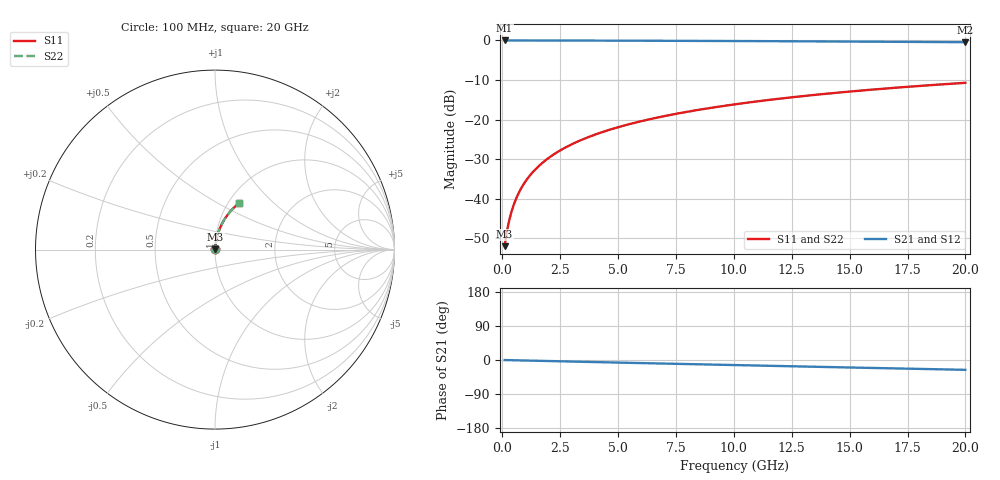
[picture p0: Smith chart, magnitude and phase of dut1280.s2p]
! Touchstone file exported from HFSS 2026.1.0
!  File:  C:/ffzhzh/LocalFiles/Ansys_Project_Files/temp_train_BSMRDL_1280_1783177836_22436.aedt
!  Generated:  11:11:49 PM Jul  4, 2026
!  Design:  BSMRDL
!  Project:  temp_train_BSMRDL_1280_1783177836_22436
! Variables:
!  h_bsmrdl = 5.57um
!  h_ox = 20um
!  h_rdl = 5um
!  h_sub = 80um
!  h_tmrdl = 5um
!  h_tsv = 80um
!  h_via = 3um
!  l_bsmrdl = 332.28um
!  l_sub = 732.28um
!  l_tmrdl = 200um
!  m_sub = 200um
!  pitch = 42.09um
!  r_tsv = 6um
!  s_tmrdl = 10um
!  w_bsmrdl = 11.81um
!  w_sub = 500um
!  w_tmrdl = 12um
!  x_tsv_center1 = 206um
!  x_tsv_center2 = 550.09um
!  x_tsv_center3 = 762.09um
!  x_tsv_center4 = 1106.18um
!  x_tsv_center5 = 1318.18um
!  x_tsv_center6 = 1662.27um
# GHz S MA R 50.000000
! Terminal data exported
! Port[1] = BSM_RDL1_1_T1
! Port[2] = BSM_RDL1_1_T2
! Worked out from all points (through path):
!   200 points, 100 MHz to 20 GHz, reference 50 ohm
!   highest |S21| = -0.02 dB at 100 MHz (marker M1); lowest = -0.5 dB at 20 GHz (marker M2)
!   group delay of S21, straight-line fit = 3.6 ps
!   lowest |S11| = -52.0 dB at 100 MHz (marker M3), VSWR 1.01, Z = 50.2 + j0.17 ohm
!   |S11| at or under -10 dB: start of sweep to end of sweep
!   |S22| runs from -52.0 to -10.7 dB; largest |S21 - S12| = 3.8e-15
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0.1  0.002522 42.2  0.9981 -0.1  0.9981 -0.1  0.002522 42.2
! Gamma 0 0 0 0
! Port Impedance 50 0 50 0
0.2  0.00386 60.1  0.9981 -0.3  0.9981 -0.3  0.00386 60.1
0.3  0.005357 68.3  0.998 -0.4  0.998 -0.4  0.005357 68.3
0.4  0.006912 72.9  0.998 -0.6  0.998 -0.6  0.006912 72.9
0.5  0.008497 75.8  0.9979 -0.7  0.9979 -0.7  0.008497 75.8
0.6  0.0101 77.7  0.9979 -0.8  0.9979 -0.8  0.0101 77.7
0.8  0.01332 80.0  0.9978 -1.1  0.9978 -1.1  0.01332 80.0
1.1  0.01819 81.7  0.9976 -1.5  0.9976 -1.5  0.01819 81.7
1.3  0.02144 82.3  0.9975 -1.8  0.9975 -1.8  0.02144 82.3
1.5  0.02468 82.6  0.9974 -2.1  0.9974 -2.1  0.02468 82.6
1.8  0.02954 82.9  0.9971 -2.5  0.9971 -2.5  0.02954 82.9
2.1  0.03437 82.9  0.9968 -2.9  0.9968 -2.9  0.03437 82.9
2.7  0.04399 82.6  0.9962 -3.7  0.9962 -3.7  0.04399 82.6
3.5  0.05668 81.9  0.9952 -4.8  0.9952 -4.8  0.05668 81.9
4.2  0.06767 81.2  0.9941 -5.7  0.9941 -5.7  0.06767 81.2
5  0.0801 80.3  0.9928 -6.8  0.9928 -6.8  0.0801 80.3
6.8  0.1076 78.2  0.9893 -9.2  0.9893 -9.2  0.1076 78.2
8.3  0.1302 76.4  0.9861 -11.2  0.9861 -11.2  0.1302 76.4
10.1  0.1567 74.3  0.9816 -13.5  0.9816 -13.5  0.1567 74.3
13.4  0.2038 70.3  0.9721 -17.8  0.9721 -17.8  0.2038 70.3
16.7  0.2488 66.4  0.961 -21.9  0.961 -21.9  0.2488 66.4
20  0.2913 62.5  0.9485 -25.9  0.9485 -25.9  0.2913 62.5
